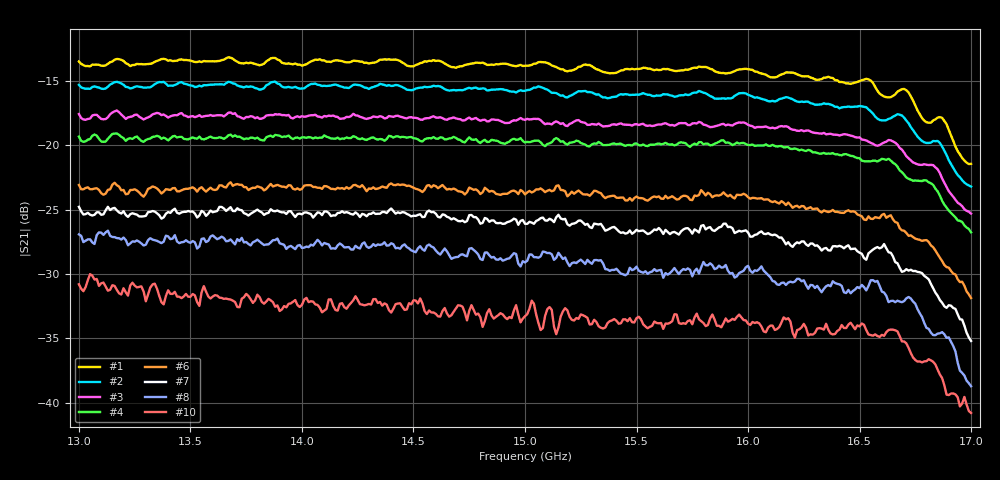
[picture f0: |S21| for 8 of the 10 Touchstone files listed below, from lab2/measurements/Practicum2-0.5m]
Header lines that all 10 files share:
!Keysight Technologies,P9374A,MY57211807,A.19.30.04
!Correction: S11(C  2-Port  )
!S21(C  2-Port  )
!S12(C  2-Port  )
!S22(C  2-Port  )
!S2P File: Measurements: S11, S21, S12, S22:
# Hz S  RI  R 50
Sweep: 13 GHz to 17 GHz
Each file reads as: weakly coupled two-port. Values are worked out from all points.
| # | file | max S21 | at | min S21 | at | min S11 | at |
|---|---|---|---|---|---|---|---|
| 1 | 12.s2p | -13.17 dB | 13.67 GHz | -21.5 dB | 16.99 GHz | -43.3 dB | 15.43 GHz |
| 2 | 14.s2p | -15.06 dB | 13.88 GHz | -23.2 dB | 17 GHz | -55.3 dB | 14.43 GHz |
| 3 | 16.s2p | -17.30 dB | 13.17 GHz | -25.3 dB | 17 GHz | -53.3 dB | 15.56 GHz |
| 4 | 18.s2p | -19.09 dB | 13.17 GHz | -26.8 dB | 17 GHz | -45.9 dB | 14.27 GHz |
| 5 | 20.s2p | -21.04 dB | 13.68 GHz | -29.1 dB | 17 GHz | -49.0 dB | 14.46 GHz |
| 6 | 22.s2p | -22.87 dB | 13.68 GHz | -31.9 dB | 17 GHz | -46.8 dB | 15.49 GHz |
| 7 | 24.s2p | -24.78 dB | 13.13 GHz | -35.2 dB | 17 GHz | -47.4 dB | 14.59 GHz |
| 8 | 26.s2p | -26.63 dB | 13.13 GHz | -38.7 dB | 17 GHz | -47.8 dB | 13.28 GHz |
| 9 | 28.s2p | -28.57 dB | 13.08 GHz | -39.6 dB | 16.99 GHz | -37.6 dB | 13.24 GHz |
| 10 | 30.s2p | -30.00 dB | 13.05 GHz | -40.8 dB | 17 GHz | -46.9 dB | 15.02 GHz |
